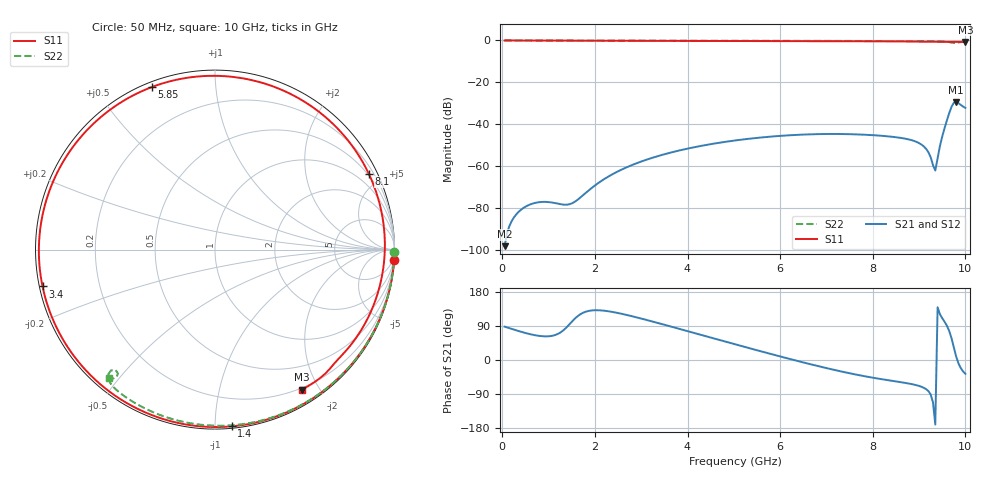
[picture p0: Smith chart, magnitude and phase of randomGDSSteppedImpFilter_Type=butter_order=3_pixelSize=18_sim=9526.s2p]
! freq	dB(S11)	phase(S11)	dB(S12)	phase(S12)
!  dB(S21)	phase(S21)	dB(S22)	phase(S22)
!S-par simulation data
#  GHz  S  DB  R 50
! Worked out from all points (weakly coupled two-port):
!   200 points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, 50 MHz to 10 GHz, reference 50 ohm
!   highest |S21| = -29.40 dB at 9.8 GHz (marker M1); lowest = -98.3 dB at 50 MHz (marker M2)
!   lowest |S11| = -0.7 dB at 10 GHz (marker M3), VSWR 23.47, Z = 8.96 - j89.2 ohm
!   |S11| at or under -10 dB: nowhere
!   |S22| runs from -1.2 to 0.0 dB; largest |S21 - S12| = 0
!   S11 on the Smith chart (normalised r, x): 50 MHz: 0, -35; 1.4 GHz: 0.01, -1.10; 3.4 GHz: 0.01, -0.11; 5.85 GHz: 0.02, +0.68; 8.1 GHz: 0.44, +4.26; 10 GHz: 0.18, -1.78
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0.05  -0.00 -3.3  -98.33 88.0  -98.33 88.0  -0.00 -0.8
0.45  -0.04 -29.2  -80.16 72.9  -80.16 72.9  -0.01 -6.8
0.75  -0.06 -47.8  -77.46 64.5  -77.46 64.5  -0.01 -11.3
1.4  -0.09 -84.6  -78.49 87.7  -78.49 87.7  -0.03 -21.1
1.75  -0.11 -102.0  -73.86 124.9  -73.86 124.9  -0.03 -26.2
2.55  -0.13 -136.7  -62.00 122.7  -62.00 122.7  -0.05 -37.9
3.4  -0.15 -167.9  -55.02 96.4  -55.02 96.4  -0.07 -49.9
4.2  -0.18 165.4  -50.79 69.4  -50.79 69.4  -0.09 -61.0
5.05  -0.21 137.8  -47.74 40.7  -47.74 40.7  -0.11 -72.3
5.85  -0.25 111.2  -45.87 14.2  -45.87 14.2  -0.14 -82.6
6.7  -0.29 81.2  -44.83 -12.5  -44.83 -12.5  -0.18 -93.2
7.4  -0.34 54.6  -44.75 -32.4  -44.75 -32.4  -0.22 -101.7
8.1  -0.40 26.2  -45.42 -48.8  -45.42 -48.8  -0.27 -110.1
8.35  -0.43 15.6  -45.88 -53.7  -45.88 -53.7  -0.29 -113.0
9.05  -0.55 -15.0  -49.75 -70.6  -49.75 -70.6  -0.35 -121.5
9.2  -0.59 -21.7  -53.37 -81.8  -53.37 -81.8  -0.37 -123.4
9.35  -0.63 -28.4  -62.17 -170.3  -62.17 -170.3  -0.40 -125.5
9.45  -0.66 -32.9  -50.49 120.8  -50.49 120.8  -0.44 -127.1
9.6  -0.72 -39.6  -38.25 90.5  -38.25 90.5  -0.63 -129.8
9.7  -0.73 -43.8  -31.73 57.6  -31.73 57.6  -1.03 -130.7
9.8  -0.68 -48.4  -29.40 9.4  -29.40 9.4  -1.14 -128.0
10  -0.74 -58.2  -32.25 -36.4  -32.25 -36.4  -0.64 -129.7
